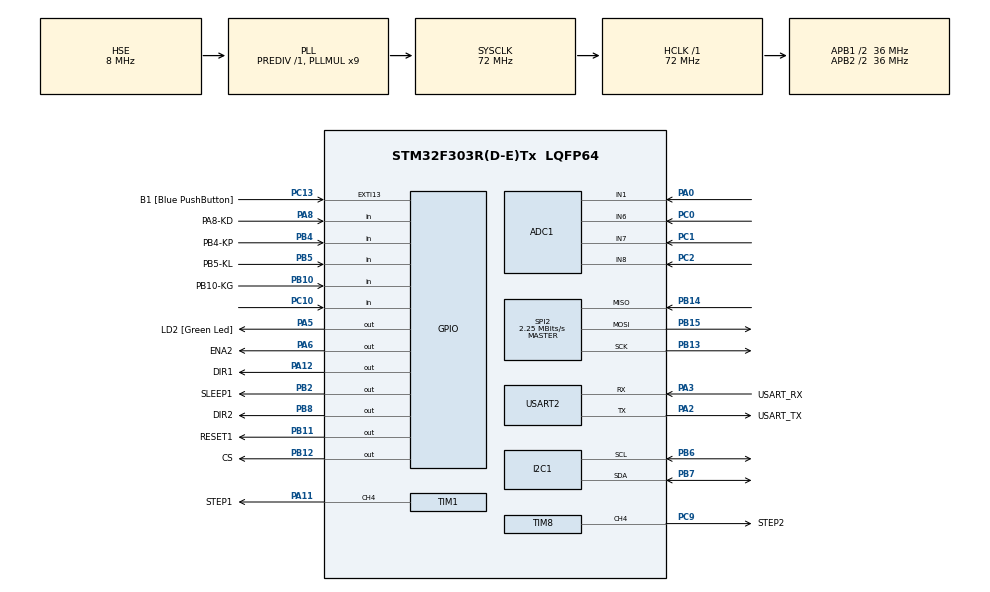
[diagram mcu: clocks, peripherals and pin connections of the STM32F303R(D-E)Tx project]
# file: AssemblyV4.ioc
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ADC1.Channel-0\#ChannelRegularConversion=ADC_CHANNEL_1
ADC1.Channel-1\#ChannelRegularConversion=ADC_CHANNEL_6
ADC1.Channel-2\#ChannelRegularConversion=ADC_CHANNEL_7
ADC1.Channel-3\#ChannelRegularConversion=ADC_CHANNEL_8
ADC1.ClockPrescaler=ADC_CLOCK_SYNC_PCLK_DIV4
ADC1.ContinuousConvMode=ENABLE
ADC1.DMAContinuousRequests=ENABLE
ADC1.DiscontinuousConvMode=DISABLE
ADC1.EOCSelection=ADC_EOC_SEQ_CONV
ADC1.NbrOfConversion=4
ADC1.NbrOfConversionFlag=1
ADC1.Offset-0\#ChannelRegularConversion=0
ADC1.Offset-1\#ChannelRegularConversion=0
ADC1.Offset-2\#ChannelRegularConversion=0
ADC1.Offset-3\#ChannelRegularConversion=0
ADC1.OffsetNumber-0\#ChannelRegularConversion=ADC_OFFSET_NONE
ADC1.OffsetNumber-1\#ChannelRegularConversion=ADC_OFFSET_NONE
ADC1.OffsetNumber-2\#ChannelRegularConversion=ADC_OFFSET_NONE
ADC1.OffsetNumber-3\#ChannelRegularConversion=ADC_OFFSET_NONE
ADC1.Overrun=ADC_OVR_DATA_OVERWRITTEN
ADC1.Rank-0\#ChannelRegularConversion=1
ADC1.Rank-1\#ChannelRegularConversion=2
ADC1.Rank-2\#ChannelRegularConversion=3
ADC1.Rank-3\#ChannelRegularConversion=4
ADC1.SamplingTime-0\#ChannelRegularConversion=ADC_SAMPLETIME_601CYCLES_5
ADC1.SamplingTime-1\#ChannelRegularConversion=ADC_SAMPLETIME_601CYCLES_5
ADC1.SamplingTime-2\#ChannelRegularConversion=ADC_SAMPLETIME_601CYCLES_5
ADC1.SamplingTime-3\#ChannelRegularConversion=ADC_SAMPLETIME_601CYCLES_5
ADC1.master=1
Dma.ADC1.0.Direction=DMA_PERIPH_TO_MEMORY
Dma.ADC1.0.Instance=DMA1_Channel1
Dma.ADC1.0.MemDataAlignment=DMA_MDATAALIGN_WORD
Dma.ADC1.0.MemInc=DMA_MINC_ENABLE
Dma.ADC1.0.Mode=DMA_CIRCULAR
Dma.ADC1.0.PeriphDataAlignment=DMA_PDATAALIGN_WORD
Dma.ADC1.0.PeriphInc=DMA_PINC_DISABLE
Dma.ADC1.0.Priority=DMA_PRIORITY_LOW
Dma.Request0=ADC1
FATFS._MAX_SS=4096
FATFS._USE_LFN=1
Mcu.Family=STM32F3
Mcu.Name=STM32F303R(D-E)Tx
Mcu.Package=LQFP64
NVIC.DMA1_Channel1_IRQn=true\:0\:0\:false\:false\:true\:false\:true
NVIC.PriorityGroup=NVIC_PRIORITYGROUP_0
NVIC.TIM2_IRQn=true\:0\:0\:false\:false\:true\:true\:true
NVIC.TIM3_IRQn=true\:0\:0\:false\:false\:true\:true\:true
NVIC.TIM4_IRQn=true\:0\:0\:false\:false\:true\:true\:true
PA0.Mode=IN1-Single-Ended
PA0.Signal=ADC1_IN1
PA11.GPIO_Label=STEP1
PA11.Signal=S_TIM1_CH4
PA12.GPIO_Label=DIR1
PA12.Signal=GPIO_Output
PA13.GPIO_Label=TMS
PA13.Mode=Serial_Wire
PA13.Signal=SYS_JTMS-SWDIO
PA14.GPIO_Label=TCK
PA14.Mode=Serial_Wire
PA14.Signal=SYS_JTCK-SWCLK
PA2.GPIO_Label=USART_TX
PA2.GPIO_Mode=GPIO_MODE_AF_PP
PA2.GPIO_PuPd=GPIO_NOPULL
PA2.GPIO_Speed=GPIO_SPEED_FREQ_LOW
PA2.Mode=Asynchronous
PA2.Signal=USART2_TX
PA3.GPIO_Label=USART_RX
PA3.GPIO_Mode=GPIO_MODE_AF_PP
PA3.GPIO_PuPd=GPIO_NOPULL
PA3.GPIO_Speed=GPIO_SPEED_FREQ_LOW
PA3.Mode=Asynchronous
PA3.Signal=USART2_RX
PA5.GPIO_Label=LD2 [Green Led]
PA5.GPIO_Mode=GPIO_MODE_OUTPUT_PP
PA5.GPIO_PuPd=GPIO_NOPULL
PA5.GPIO_Speed=GPIO_SPEED_FREQ_LOW
PA5.Signal=GPIO_Output
PA6.GPIO_Label=ENA2
PA6.Signal=GPIO_Output
PA8.GPIO_Label=PA8-KD
PA8.Signal=GPIO_Input
PB10.GPIO_Label=PB10-KG
PB10.Signal=GPIO_Input
PB11.GPIO_Label=RESET1
PB11.Signal=GPIO_Output
PB12.GPIO_Label=CS
PB12.Signal=GPIO_Output
PB13.Mode=Full_Duplex_Master
PB13.Signal=SPI2_SCK
PB14.Mode=Full_Duplex_Master
PB14.Signal=SPI2_MISO
PB15.Mode=Full_Duplex_Master
PB15.Signal=SPI2_MOSI
PB2.GPIO_Label=SLEEP1
PB2.Signal=GPIO_Output
PB3.GPIO_Label=SWO
PB3.Signal=SYS_JTDO-TRACESWO
PB4.GPIO_Label=PB4-KP
PB4.Signal=GPIO_Input
PB5.GPIO_Label=PB5-KL
PB5.Signal=GPIO_Input
PB6.Mode=I2C
PB6.Signal=I2C1_SCL
PB7.Mode=I2C
PB7.Signal=I2C1_SDA
PB8.GPIO_Label=DIR2
PB8.Signal=GPIO_Output
PC0.Signal=ADCx_IN6
PC1.Signal=ADCx_IN7
PC10.Signal=GPIO_Input
PC13.GPIO_Label=B1 [Blue PushButton]
PC13.GPIO_ModeDefaultEXTI=GPIO_MODE_IT_FALLING
PC13.Signal=GPXTI13
PC14-OSC32_IN.Mode=LSE-External-Oscillator
PC14-OSC32_IN.Signal=RCC_OSC32_IN
PC15-OSC32_OUT.Mode=LSE-External-Oscillator
PC15-OSC32_OUT.Signal=RCC_OSC32_OUT
PC2.Signal=ADCx_IN8
PC9.GPIO_Label=STEP2
PC9.Signal=S_TIM8_CH4
PF0-OSC_IN.Mode=HSE-External-Clock-Source
PF0-OSC_IN.Signal=RCC_OSC_IN
PF1-OSC_OUT.Signal=RCC_OSC_OUT
ProjectManager.HeapSize=0x200
ProjectManager.StackSize=0x400
ProjectManager.TargetToolchain=STM32CubeIDE
RCC.ADC12PRES=RCC_ADC12PLLCLK_DIV4
RCC.AHBFreq_Value=72000000
RCC.APB1CLKDivider=RCC_HCLK_DIV2
RCC.APB1Freq_Value=36000000
RCC.APB1TimFreq_Value=72000000
RCC.APB2CLKDivider=RCC_HCLK_DIV2
RCC.APB2Freq_Value=36000000
RCC.APB2TimFreq_Value=72000000
RCC.CortexFreq_Value=72000000
RCC.HCLKFreq_Value=72000000
RCC.HSE_VALUE=8000000
RCC.HSI_VALUE=8000000
RCC.PLLM=8
RCC.PLLMUL=RCC_PLL_MUL9
RCC.PLLN=336
RCC.PLLP=RCC_PLLP_DIV4
RCC.PLLQ=7
RCC.PLLSourceVirtual=RCC_PLLSOURCE_HSE
RCC.RCC_PLLsource_Clock_Source_FROM_HSE=RCC_HSE_PREDIV_DIV2
RCC.SYSCLKFreq_VALUE=72000000
RCC.SYSCLKSourceVirtual=RCC_SYSCLKSOURCE_PLLCLK
RCC.USBFreq_Value=72000000
SH.ADCx_IN6.0=ADC1_IN6,IN6-Single-Ended
SH.ADCx_IN7.0=ADC1_IN7,IN7-Single-Ended
SH.ADCx_IN8.0=ADC1_IN8,IN8-Single-Ended
SH.S_TIM1_CH4.0=TIM1_CH4,PWM Generation4 CH4
SH.S_TIM8_CH4.0=TIM8_CH4,PWM Generation4 CH4
SPI2.BaudRatePrescaler=SPI_BAUDRATEPRESCALER_16
SPI2.CalculateBaudRate=2.25 MBits/s
SPI2.DataSize=SPI_DATASIZE_8BIT
SPI2.Direction=SPI_DIRECTION_2LINES
SPI2.Mode=SPI_MODE_MASTER
SPI2.VirtualType=VM_MASTER
TIM1.AutoReloadPreload=TIM_AUTORELOAD_PRELOAD_ENABLE
TIM1.Channel-PWM\ Generation4\ CH4=TIM_CHANNEL_4
TIM1.Period=50-1
TIM1.Prescaler=3600-1
TIM1.Pulse-PWM\ Generation4\ CH4=25-1
TIM1.TIM_MasterOutputTrigger=TIM_TRGO_UPDATE
TIM1.TIM_MasterSlaveMode=TIM_MASTERSLAVEMODE_ENABLE
TIM3.AutoReloadPreload=TIM_AUTORELOAD_PRELOAD_ENABLE
TIM3.ClockDivision=TIM_CLOCKDIVISION_DIV1
TIM3.Period=50000-1
TIM3.Prescaler=7200-1
TIM8.AutoReloadPreload=TIM_AUTORELOAD_PRELOAD_ENABLE
TIM8.Channel-PWM\ Generation4\ CH4=TIM_CHANNEL_4
TIM8.ClockDivision=TIM_CLOCKDIVISION_DIV4
TIM8.Period=20-1
TIM8.Prescaler=360-1
TIM8.Pulse-PWM\ Generation4\ CH4=10-1
TIM8.TIM_MasterOutputTrigger=TIM_TRGO_UPDATE
TIM8.TIM_MasterSlaveMode=TIM_MASTERSLAVEMODE_ENABLE
USART2.VirtualMode-Asynchronous=VM_ASYNC
VP_FATFS_VS_Generic.Mode=User_defined
VP_TIM1_VS_ClockSourceINT.Mode=Internal
VP_TIM2_VS_ClockSourceITR.Mode=TriggerSource_ITR0
VP_TIM2_VS_ControllerModeClock.Mode=Clock Mode
VP_TIM3_VS_ClockSourceINT.Mode=Internal
VP_TIM4_VS_ClockSourceITR.Mode=TriggerSource_ITR3
VP_TIM4_VS_ControllerModeClock.Mode=Clock Mode
VP_TIM8_VS_ClockSourceINT.Mode=Internal
board=NUCLEO-F303RE

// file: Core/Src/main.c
/* USER CODE BEGIN Header */
/**
  ******************************************************************************
  * @file           : main.c
  * @brief          : Main program body
  ******************************************************************************
  * @attention
  *
  * <h2><center>&copy; Copyright (c) 2020 STMicroelectronics.
  * All rights reserved.</center></h2>
  *
  * This software component is licensed by ST under Ultimate Liberty license
  * SLA0044, the "License"; You may not use this file except in compliance with
  * the License. You may obtain a copy of the License at:
  *                             www.st.com/SLA0044
  *
  ******************************************************************************
  */
/* USER CODE END Header */

#include "main.h"
#include "adc.h"
#include "dma.h"
#include "fatfs.h"
#include "i2c.h"
#include "spi.h"
#include "tim.h"
#include "usart.h"
#include "gpio.h"

/* USER CODE BEGIN Includes */
#include "fatfs_sd.h"
#include "stdbool.h"
#include "INA219.h"
#include "lcd_i2c.h"
#include "fatfs_sd.h"
#include "string.h"
#include "az.h"
#include "elew.h"
//#include "stepper.h"

/* USER CODE END Includes */

/* USER CODE BEGIN PM */

//funkcja obsługująca zapis danych do pliku
FRESULT open_append (
    FIL* fp,            /* [OUT] File object to create */
    const char* path    /* [IN]  File name to be opened */
)
{
    FRESULT fr;

    /* Otwiera istniejacy plik, lub tworzy nowy */
    fr = f_open(fp, path, FA_WRITE | FA_OPEN_ALWAYS);
    if (fr == FR_OK) {
        /* Seek to end of the file to append data */
        fr = f_lseek(fp, f_size(fp));
        if (fr != FR_OK)
            f_close(fp);
    }
    return fr;
}
void send_uart(char *string)
{
	uint8_t len = strlen(string);
	HAL_UART_Transmit(&huart2, (uint8_t *) string, len, 2000); //blocking mode transmit
}
/* USER CODE END PM */

/* USER CODE BEGIN PV */
/* Variables */
//wyswietlacz LCD
struct lcd_disp disp;

/* USER CODE END PV */

void SystemClock_Config(void);
/* USER CODE BEGIN PFP */
void zapis_danych(void)
{
	FATFS fs;
	FIL fil;
	FRESULT fresult;

	float moc, voltage;
	char moc_str[30], volt_str[30];
	moc = ina_power_mW();
	voltage = getBusVoltage_V();

	fresult = f_mount(&fs, "/", 1);
	if (fresult != FR_OK) send_uart ("BLĄD, Karta zainstalowana niepoprawnie...\n\n");
	else {
		send_uart("Karta SD zamontowana poprawniey...\n\n");
		//Otwarcie pliku do zapisu danych
		fresult = open_append(&fil, "dane.txt");

		// Dodanie danych na końcu pliku

		sprintf(moc_str, "%f\n", moc);
		f_puts(moc_str, &fil);

		// Zamknięcie pliku
		fresult = f_close(&fil);
	}

	sprintf(moc_str, "Moc[mW]: %f", moc);
	sprintf(volt_str,"Vol[V]: %f", voltage);

	sprintf((char *)disp.f_line, moc_str);
	sprintf((char *)disp.s_line, volt_str);
	lcd_display(&disp);
}

void HAL_TIM_PeriodElapsedCallback(TIM_HandleTypeDef *htim)
{
	if(htim->Instance == TIM2)
		{
		//Zatrzymanie pozycji elewacji panelu po osiągnięciu zadanej pozycji początkowej
		  az_stop();
		}
	if(htim->Instance == TIM4)
		{
		//Zatrzymanie pozycji azymutu panelu po osiągnięciu zadanej pozycji początkowej
		 	 elew_stop();
		}
}
/* USER CODE END PFP */

int main(void)
{

  /* MCU Configuration--------------------------------------------------------*/

  /* Reset of all peripherals, Initializes the Flash interface and the Systick. */
  HAL_Init();

  /* Configure the system clock */
  SystemClock_Config();

  /* Initialize all configured peripherals */
  MX_GPIO_Init();
  MX_DMA_Init();
  MX_USART2_UART_Init();
  MX_ADC1_Init();
  MX_I2C1_Init();
  MX_TIM1_Init();
  MX_TIM2_Init();
  MX_SPI2_Init();
  MX_FATFS_Init();
  MX_TIM8_Init();
  MX_TIM4_Init();
  MX_TIM3_Init();
  /* USER CODE BEGIN 2 */

  // inicjalizacja modułu pomiaru mocy INA219

  HAL_StatusTypeDef ina_stat;

  ina_stat = HAL_I2C_IsDeviceReady(&hi2c1, INA_219_ADDR, 5, 20);

  if (ina_stat == HAL_OK)
	  ina_init();

  // incicjalizacja wyświetlacza LCD
  disp.addr = (0x27 << 1);
  disp.bl = true;

  HAL_StatusTypeDef i2c_stat;
  i2c_stat = HAL_I2C_IsDeviceReady(&hi2c1, disp.addr, 5, 20);

  if(i2c_stat == HAL_OK)

  {
	  lcd_init(&disp);
  }

  sprintf((char *)disp.f_line, "Pozycjonowanie");
  sprintf((char *)disp.s_line, "poczatkowe");
  lcd_display(&disp);

  //Pozycjonowanie poczatkowe
  elew_init();
  az_init();

  HAL_Delay(10000);
  sprintf((char *)disp.f_line, "Tryb pracy");
  sprintf((char *)disp.s_line, "");
  lcd_display(&disp);

  HAL_Delay(2000);
  disp.bl = true;
  /* USER CODE END 2 */

  /* Infinite loop */
  /* USER CODE BEGIN WHILE */
  while (1)
  {

	//if(f_mount(&fs, "/", 1) == FR_OK)
		zapis_danych();
	az_steruj();

	elew_steruj();

	HAL_Delay(5000);

    /* USER CODE END WHILE */

  }
}

void SystemClock_Config(void)
{
  RCC_OscInitTypeDef RCC_OscInitStruct = {0};
  RCC_ClkInitTypeDef RCC_ClkInitStruct = {0};
  RCC_PeriphCLKInitTypeDef PeriphClkInit = {0};

  /** Initializes the CPU, AHB and APB busses clocks
  */
  RCC_OscInitStruct.OscillatorType = RCC_OSCILLATORTYPE_HSI|RCC_OSCILLATORTYPE_HSE;
  RCC_OscInitStruct.HSEState = RCC_HSE_BYPASS;
  RCC_OscInitStruct.HSIState = RCC_HSI_ON;
  RCC_OscInitStruct.HSICalibrationValue = RCC_HSICALIBRATION_DEFAULT;
  RCC_OscInitStruct.PLL.PLLState = RCC_PLL_ON;
  RCC_OscInitStruct.PLL.PLLSource = RCC_PLLSOURCE_HSE;
  RCC_OscInitStruct.PLL.PLLMUL = RCC_PLL_MUL9;
  RCC_OscInitStruct.PLL.PREDIV = RCC_PREDIV_DIV1;
  if (HAL_RCC_OscConfig(&RCC_OscInitStruct) != HAL_OK)
  {
    Error_Handler();
  }
  /** Initializes the CPU, AHB and APB busses clocks
  */
  RCC_ClkInitStruct.ClockType = RCC_CLOCKTYPE_HCLK|RCC_CLOCKTYPE_SYSCLK
                              |RCC_CLOCKTYPE_PCLK1|RCC_CLOCKTYPE_PCLK2;
  RCC_ClkInitStruct.SYSCLKSource = RCC_SYSCLKSOURCE_PLLCLK;
  RCC_ClkInitStruct.AHBCLKDivider = RCC_SYSCLK_DIV1;
  RCC_ClkInitStruct.APB1CLKDivider = RCC_HCLK_DIV2;
  RCC_ClkInitStruct.APB2CLKDivider = RCC_HCLK_DIV2;

  if (HAL_RCC_ClockConfig(&RCC_ClkInitStruct, FLASH_LATENCY_2) != HAL_OK)
  {
    Error_Handler();
  }
  PeriphClkInit.PeriphClockSelection = RCC_PERIPHCLK_USART2|RCC_PERIPHCLK_I2C1
                              |RCC_PERIPHCLK_TIM1|RCC_PERIPHCLK_TIM8
                              |RCC_PERIPHCLK_TIM2|RCC_PERIPHCLK_TIM34;
  PeriphClkInit.Usart2ClockSelection = RCC_USART2CLKSOURCE_PCLK1;
  PeriphClkInit.I2c1ClockSelection = RCC_I2C1CLKSOURCE_HSI;
  PeriphClkInit.Tim1ClockSelection = RCC_TIM1CLK_HCLK;
  PeriphClkInit.Tim8ClockSelection = RCC_TIM8CLK_HCLK;
  PeriphClkInit.Tim2ClockSelection = RCC_TIM2CLK_HCLK;
  PeriphClkInit.Tim34ClockSelection = RCC_TIM34CLK_HCLK;
  if (HAL_RCCEx_PeriphCLKConfig(&PeriphClkInit) != HAL_OK)
  {
    Error_Handler();
  }
}

void Error_Handler(void)
{
}

/************************ (C) COPYRIGHT STMicroelectronics *****END OF FILE****/
